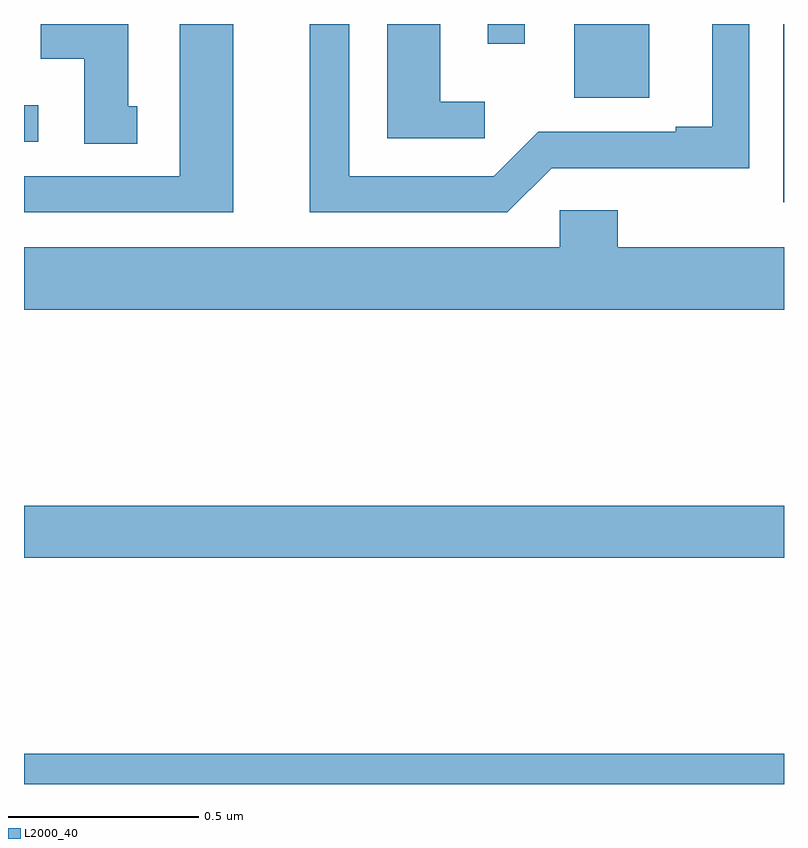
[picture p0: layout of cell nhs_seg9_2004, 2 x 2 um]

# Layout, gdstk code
import gdstk
lib = gdstk.Library(unit=1e-6, precision=1e-09)
def R(c, l, rs):  # rectangles x0, y0, x1, y1
    for r in rs: c.add(gdstk.rectangle(r[:2], r[2:], *l))
def P(c, l, *ps):  # polygons
    for p in ps: c.add(gdstk.Polygon(p, *l))
L2000_40 = (2000, 40)

nhs_seg9_2004 = lib.new_cell('nhs_seg9_2004')
R(nhs_seg9_2004, L2000_40, [(135,1200.5,137,1200.58), (135,1201.096,137,1201.232), (136.998,1202.031,137,1202.5), (135,1202.19,135.037,1202.286), (136.448,1202.306,136.645,1202.5), (136.221,1202.448,136.318,1202.5)])
P(nhs_seg9_2004, L2000_40, [(135.298,1202.283),(135.274,1202.283),(135.274,1202.5),(135.044,1202.5),(135.044,1202.408),(135.158,1202.408),(135.158,1202.185),(135.298,1202.185)],
  [(136.389,1202.121),(136.645,1202.121),(136.645,1202.12),(136.908,1202.12),(136.908,1202.5),(136.811,1202.5),(136.811,1202.23),(136.715,1202.23),(136.715,1202.217),(136.353,1202.217),(136.236,1202.1),(135.856,1202.1),(135.856,1202.5),(135.752,1202.5),(135.752,1202.004),(136.272,1202.004)],
  [(135.55,1202.5),(135.41,1202.5),(135.41,1202.1),(135,1202.1),(135,1202.004),(135.55,1202.004)],
  [(136.213,1202.296),(136.096,1202.296),(136.096,1202.5),(135.956,1202.5),(135.956,1202.199),(136.213,1202.199)],
  [(137,1201.912),(136.562,1201.912),(136.562,1202.01),(136.41,1202.01),(136.41,1201.912),(135,1201.912),(135,1201.748),(137,1201.748)])

lib.write_gds('nhs_seg9_2004.gds')
